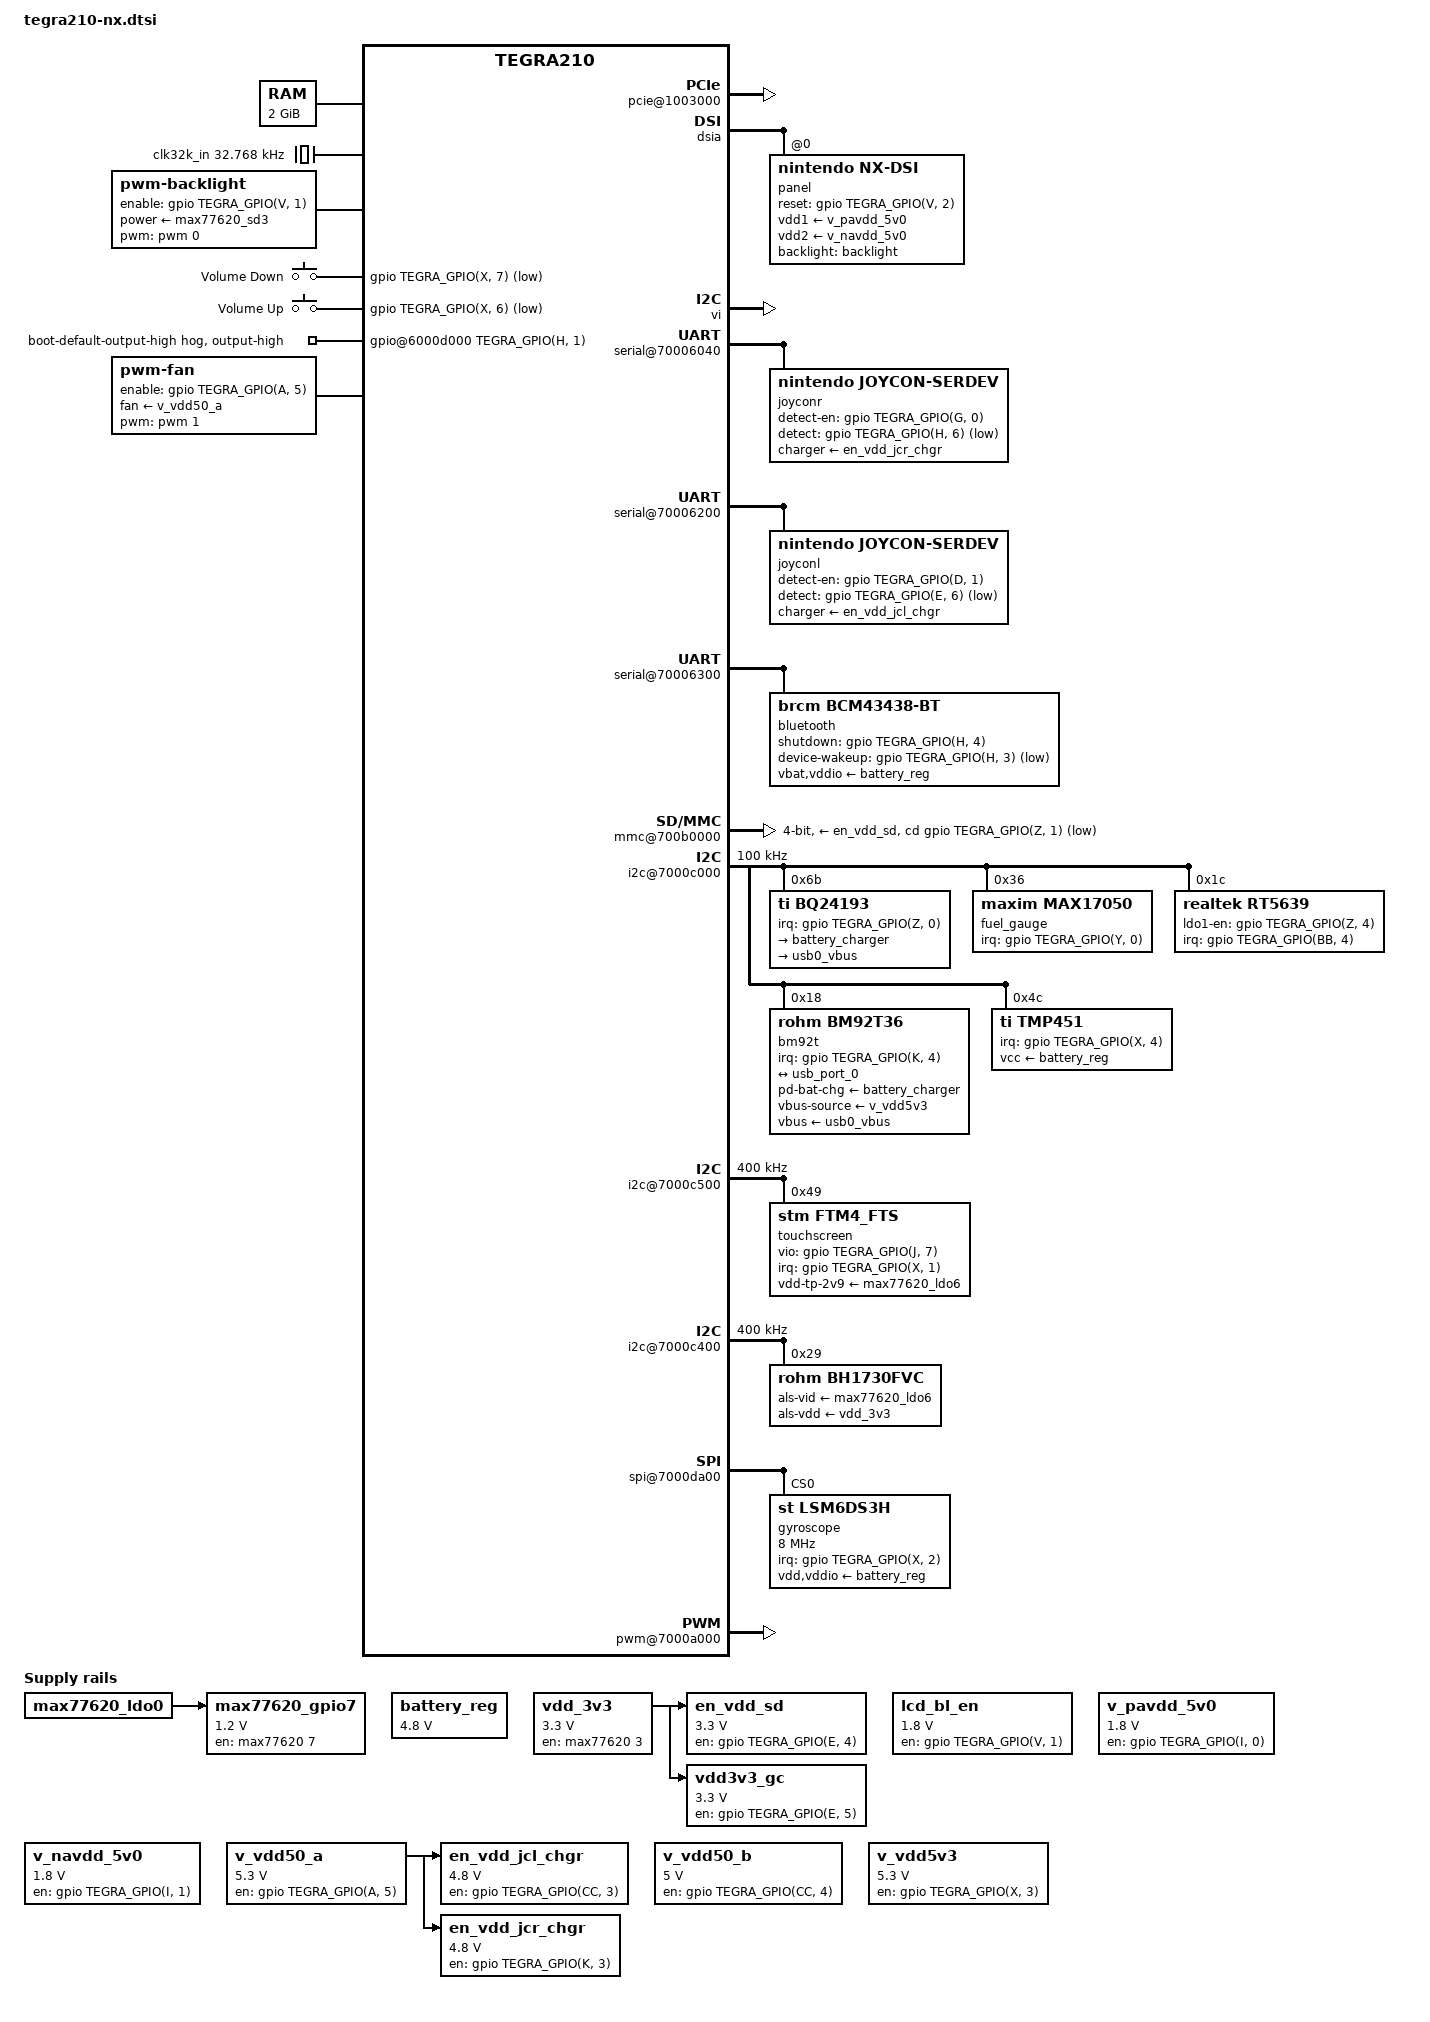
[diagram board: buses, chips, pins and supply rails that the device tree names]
// SPDX-License-Identifier: GPL-2.0
/dts-v1/;

#include <dt-bindings/mfd/max77620.h>
#include <dt-bindings/gpio/tegra-gpio.h>
#include <dt-bindings/thermal/thermal.h>
#include <dt-bindings/interrupt-controller/irq.h>
#include <dt-bindings/soc/tegra-pmc.h>
#include <dt-bindings/input/input.h>
#include <dt-bindings/pwm/pwm.h>
#include <dt-bindings/pinctrl/pinctrl-tegra.h>

#include "tegra210.dtsi"

/ {
	psci {
		compatible = "arm,psci-1.0";
		method = "smc";
	};

	cpus {
		cpu@0 {
			enable-method = "psci";
		};
		cpu@1 {
			enable-method = "psci";
		};
		cpu@2 {
			enable-method = "psci";
		};
		cpu@3 {
			enable-method = "psci";
		};
	};

	aliases {
		i2c1 = "/i2c@7000c000";
		i2c2 = "/i2c@7000c400";
		i2c3 = "/i2c@7000c500";
		i2c5 = "/i2c@7000d000";
		rtc0 = "/i2c@7000d000/max77620@3c";
		rtc1 = "/rtc@7000e000";
		serial0 = &uarta;
		serial1 = &uartb;
		serial2 = &uartc;
		serial3 = &uartd;
	};

	chosen {
		bootargs = "root=/dev/mmcblk0p2 rw rootwait fbcon=rotate:3 printk.synchronous=1 loglevel=4 console=fb0 console=ttyGS0 earlycon";
		stdout-path = "serial1:115200n8";
	};

	cpus {
		#address-cells = <1>;
		#size-cells = <0>;

		cpu@0 {
			vdd-cpu-supply = <&cpu_max_reg>;
		};

		idle-states {
			cpu-sleep {
				status = "okay";
			};
		};
	};

	gpu@57000000 {
		status = "okay";
		vdd-supply = <&gpu_max_reg>;
	};

	pcie@1003000 {
		status = "okay";

		avdd-pll-uerefe-supply = <&max77620_ldo1>;
		hvddio-pex-supply = <&max77620_sd3>;
		dvddio-pex-supply = <&max77620_ldo1>;
		dvdd-pex-pll-supply = <&max77620_ldo1>;
		hvdd-pex-pll-e-supply = <&max77620_sd3>;
		vddio-pex-ctl-supply = <&max77620_sd3>;

		pci@1,0 {
			phys =	<&{/padctl@7009f000/pads/pcie/lanes/pcie-3}>, /* Referred to plat config */
				<&{/padctl@7009f000/pads/pcie/lanes/pcie-2}>;
			phy-names = "pcie-0", "pcie-1";
			nvidia,num-lanes = <2>;
			status = "disabled";
		};

		pci@2,0 {
			phys = <&{/padctl@7009f000/pads/pcie/lanes/pcie-0}>;
			phy-names = "pcie-0";
			status = "okay";
		};
	};

	host1x@50000000 {
		dsia: dsi@54300000 {
			status = "okay";

			panel@0 {
				compatible = "nintendo,nx-dsi";
				nintendo,panel-id = <&pmc_scratch 0x31c>;
				reg = <0>;
				reset-gpios = <&gpio TEGRA_GPIO(V, 2) GPIO_ACTIVE_HIGH>;
				backlight = <&backlight>;
				vdd1-supply = <&v_pavdd_5v0>;
				vdd2-supply = <&v_navdd_5v0>;
			};
		};

		/* tegradc.0: DSI */
		dc@54200000 {
			status = "okay";
			pavdd_lcd-supply = <&v_pavdd_5v0>;
			navdd_lcd-supply = <&v_navdd_5v0>;
			dvdd_lcd-supply = <&max77620_sd3>;
			vdd_lcd_bl_en-supply = <&lcd_bl_en>;
			nvidia,outputs = <&dsia>;
		};

		/* tegradc.1: DP */
		dc@54240000 {
			status = "okay";
			avdd_hdmi-supply = <&max77620_ldo8>;    /* 1V05 */
			avdd_hdmi_pll-supply = <&max77620_sd3>; /* 1V8 */
			// vdd_hdmi_5v0-supply = <&vdd_hdmi>; /* 5V0 GPIO_PCC7 fixed reg */

			vdd-dp-pwr-supply = <&vdd_3v3>;
			avdd-dp-pll-supply = <&max77620_sd3>;
			vdd-dp-pad-supply = <&max77620_ldo8>;

			extcon-cables = <&bm92t 3>;
			extcon-cable-names = "typec1";

			nvidia,outputs = <&sor1>;
		};

		dpaux1: dpaux@54040000 {
			status = "okay";
			vdd-supply = <&v_pavdd_5v0>;
		};

		sor1: sor@54580000 {
			status = "okay";
			nvidia,dpaux = <&dpaux1>;

			avdd-io-hdmi-dp-supply = <&max77620_ldo8>;
			vdd-hdmi-dp-pll-supply = <&max77620_sd3>;

			nvidia,hpd-gpio = <&gpio TEGRA_GPIO(CC, 1) GPIO_ACTIVE_LOW>;
		};

		vi: i2c@546c0000 {
			status = "okay";
		};
	};

	clock@70110000 {
		status = "okay";
		nvidia,cf = <6>;
		nvidia,ci = <0>;
		nvidia,cg = <2>;
		nvidia,droop-ctrl = <0x00000f00>;
		nvidia,force-mode = <1>;
		nvidia,i2c-fs-rate = <400000>;
		nvidia,sample-rate = <12500>;
		vdd-cpu-supply = <&cpu_max_reg>;
	};

	memory {
		device_type = "memory";
		reg = <0x0 0x80000000 0x0 0x80000000>;
	};

	reserved-memory {
		/delete-node/ vpr-carveout;
		/delete-node/ iram-carveout;
	};

	r2p {
		compatible = "tegra-r2p";
		status = "okay";
	};

	/* debug port */
	serial@70006000 {
		status = "disabled";
	};

	/* joycon ports:
	 *	invert TXD and RTS via IRDA_CSR
	 *	start @ 1000000 baud, switch to 3000000
	 *	when they are >= 3000000 baud, use 2 stop bits
	 *	use flow control
	 *	Note: hsuart driver is required for flow control
	 */
	/* right joycon */
	serial@70006040 {
		status = "okay";
		compatible = "nvidia,tegra124-hsuart", "nvidia,tegra30-hsuart";
		nvidia,invert-txd;
		nvidia,invert-rts;
		reset-names = "serial";

		joyconr {
			status = "okay";
			compatible = "nintendo,joycon-serdev";
			charger-supply = <&en_vdd_jcr_chgr>;
			detect-en-gpios = <&gpio TEGRA_GPIO(G, 0) GPIO_ACTIVE_HIGH>;
			detect-gpios = <&gpio TEGRA_GPIO(H, 6) GPIO_ACTIVE_LOW>;
		};
	};

	/* left joycon */
	serial@70006200 {
		status = "okay";
		compatible = "nvidia,tegra124-hsuart", "nvidia,tegra30-hsuart";
		nvidia,invert-txd;
		nvidia,invert-rts;
		reset-names = "serial";

		joyconl {
			status = "okay";
			compatible = "nintendo,joycon-serdev";
			charger-supply = <&en_vdd_jcl_chgr>;
			detect-en-gpios = <&gpio TEGRA_GPIO(D, 1) GPIO_ACTIVE_HIGH>;
			detect-gpios = <&gpio TEGRA_GPIO(E, 6) GPIO_ACTIVE_LOW>;
		};
	};

	/* bluetooth */
	serial@70006300 {
		dma-names = "tx";
		status = "okay";
		compatible = "nvidia,tegra124-hsuart", "nvidia,tegra30-hsuart";
		reset-names = "serial";

		bluetooth {
			compatible = "brcm,bcm43438-bt";
			vbat-supply = <&battery_reg>;
			vddio-supply = <&battery_reg>;
			shutdown-gpios = <&gpio TEGRA_GPIO(H, 4) GPIO_ACTIVE_HIGH>;
			device-wakeup-gpios = <&gpio TEGRA_GPIO(H, 3) GPIO_ACTIVE_LOW>;
			max-speed = <3000000>; /* Max supported 4 MBaud */
			sco-routing = <1>; /* Over HCI */
		};
	};

	clk32k_in: clock-32k {
		compatible = "fixed-clock";
		clock-frequency = <32768>;
		#clock-cells = <0>;
	};

	backlight: backlight {
		compatible = "pwm-backlight";
		pwms = <&pwm 0 33898>;
		pwm-names = "backlight";
		brightness-levels = <
			0 1 2 3 4 5 6 7 8 9 10 11 12 13 14 15 16
			17 18 19 20 21 22 23 24 25 26 27 28 29 30
			31 32 33 34 35 36 37 38 39 40 41 42 43 44
			45 46 47 48 49 50 51 52 53 54 55 56 57 58
			59 60 61 62 63 64 65 66 67 68 69 70 71 72
			73 74 75 76 77 78 79 80 81 82 83 84 85 86
			87 88 89 90 91 92 93 94 95 96 97 98 99 100
		>;
		default-brightness-level = <50>;
		enable-gpios = <&gpio TEGRA_GPIO(V, 1) GPIO_ACTIVE_HIGH>;
		power-supply = <&max77620_sd3>;
	};

	battery_reg: vdd-ac-bat {
		compatible = "regulator-fixed";
		status = "okay";
		regulator-name = "vdd-ac-bat";
		regulator-min-microvolt = <4800000>;
		regulator-max-microvolt = <4800000>;
		regulator-always-on;
		regulator-boot-on;
	};

	vdd_3v3: vdd-3v3 {
		compatible = "regulator-fixed";
		regulator-name = "vdd-3v3";
		regulator-min-microvolt = <3300000>;
		regulator-max-microvolt = <3300000>;
		regulator-always-on;
		gpio = <&max77620 3 0>;
		enable-active-high;
		regulator-enable-ramp-delay = <160>;
		regulator-disable-ramp-delay = <10000>;
	};

	max77620_gpio7: avdd-dsi-csi-1v2 {
		compatible = "regulator-fixed";
		regulator-name = "max77620-gpio7";
		regulator-min-microvolt = <1200000>;
		regulator-max-microvolt = <1200000>;
		regulator-boot-on; /* Must be set for seamless display */
		gpio = <&max77620 7 0>;
		enable-active-high;
		regulator-enable-ramp-delay = <240>;
		regulator-disable-ramp-delay = <11340>;
		vin-supply = <&max77620_ldo0>;
	};

	lcd_bl_en: lcd-bl-en {
		compatible = "regulator-fixed";
		regulator-name = "lcd-bl-en";
		regulator-min-microvolt = <1800000>;
		regulator-max-microvolt = <1800000>;
		gpio = <&gpio TEGRA_GPIO(V, 1) 0>;
		regulator-boot-on; /* Must be set for seamless display */
		enable-active-high;
		regulator-always-on;
		regulator-state-mem {
			regulator-off-in-suspend;
		};
	};

	en_vdd_sd: en-vdd-sd {
		compatible = "regulator-fixed";
		regulator-name = "en-vdd-sd";
		regulator-min-microvolt = <3300000>;
		regulator-max-microvolt = <3300000>;
		gpio = <&gpio TEGRA_GPIO(E, 4) 0>;
		enable-active-high;
		regulator-enable-ramp-delay = <472>;
		regulator-disable-ramp-delay = <4880>;
		vin-supply = <&vdd_3v3>;
	};

	/* LCD Power Enable +5V. Rohm BD8316GWL. */
	v_pavdd_5v0: v-pavdd-5v0 {
		compatible = "regulator-fixed";
		regulator-name = "v_pavdd_5v0";
		regulator-min-microvolt = <1800000>;
		regulator-max-microvolt = <1800000>;
		gpio = <&gpio TEGRA_GPIO(I, 0) 0>;
		enable-active-high;
		regulator-boot-on; /* Must be set for seamless display */
		regulator-enable-ramp-delay = <232>;
	};

	/* LCD Power Enable -5V. Rohm BD8316GWL. */
	v_navdd_5v0: v-navdd-5v0 {
		compatible = "regulator-fixed";
		regulator-name = "v_navdd_5v0";
		regulator-min-microvolt = <1800000>;
		regulator-max-microvolt = <1800000>;
		gpio = <&gpio TEGRA_GPIO(I, 1) 0>;
		enable-active-high;
		regulator-boot-on; /* Must be set for seamless display */
		regulator-enable-ramp-delay = <232>;
	};

	/* Joycon/Fan power (battery). Maxim MAX8969EWL53+. */
	v_vdd50_a: v-vdd50-a {
		compatible = "regulator-fixed";
		regulator-name = "v_vdd50_a";
		regulator-min-microvolt = <5300000>;
		regulator-max-microvolt = <5300000>;
		gpio = <&gpio TEGRA_GPIO(A, 5) 0>;
		enable-active-high;
	};

	/* Joycon/Fan power (usb). DC0 on Odin. Maxim MAX8969EWL53+ on Modin. */
	v_vdd50_b: v-vdd50-b {
		compatible = "regulator-fixed";
		regulator-name = "v_vdd50_b";
		regulator-min-microvolt = <5000000>;
		regulator-max-microvolt = <5000000>;
		gpio = <&gpio TEGRA_GPIO(CC, 4) 0>;
		enable-active-high;
	};

	v_vdd5v3: v-vdd5v3 {
		compatible = "regulator-fixed";
		status = "okay"; /* Only enabled on Modin/Vali/Fric */
		regulator-name = "v_vdd5v3";
		regulator-min-microvolt = <5300000>;
		regulator-max-microvolt = <5300000>;
		gpio = <&gpio TEGRA_GPIO(X, 3) 0>;
		enable-active-high;
		regulator-enable-ramp-delay = <10000>;
	};

	vdd3v3_gc: vdd3v3-gc {
		compatible = "regulator-fixed";
		regulator-name = "vdd3v3_gc";
		regulator-min-microvolt = <3300000>;
		regulator-max-microvolt = <3300000>;
		gpio = <&gpio TEGRA_GPIO(E, 5) 0>;
		enable-active-high;
		regulator-enable-ramp-delay = <472>;
		regulator-disable-ramp-delay = <4880>;
		vin-supply = <&vdd_3v3>;
	};

	/* TI TCR2EE48 4.8V */
	en_vdd_jcl_chgr: left-joycon-charger {
		compatible = "regulator-fixed";
		status = "okay";
		regulator-name = "left-joycon-charger";
		regulator-min-microvolt = <4800000>;
		regulator-max-microvolt = <4800000>;
		gpio = <&gpio TEGRA_GPIO(CC, 3) GPIO_ACTIVE_HIGH>;
		enable-active-high;
		vin-supply = <&v_vdd50_a>;
		regulator-state-mem {
			regulator-off-in-suspend;
		};
	};

	/* TI TCR2EE48 4.8V */
	en_vdd_jcr_chgr: right-joycon-charger {
		compatible = "regulator-fixed";
		status = "okay";
		regulator-name = "right-joycon-charger";
		regulator-min-microvolt = <4800000>;
		regulator-max-microvolt = <4800000>;
		gpio = <&gpio TEGRA_GPIO(K, 3) GPIO_ACTIVE_HIGH>;
		enable-active-high;
		vin-supply = <&v_vdd50_a>;
		regulator-state-mem {
			regulator-off-in-suspend;
		};
	};

	/* SDMMC4 for EMMC */
	mmc@700b0600 {
		status = "disabled";
		bus-width = <8>;
		max-frequency = <200000000>;

		cap-mmc-highspeed;
		mmc-ddr-1_8v;
		mmc-hs200-1_8v;
		mmc-hs400-1_8v;
		non-removable;

		vqmmc-supply = <&max77620_sd3>;
		vmmc-supply = <&vdd_3v3>;
	};

	/* SDMMC3 Not Used */
	mmc@700b0400 {
		status = "disabled";

		vqmmc-supply = <&max77620_sd3>;
		vmmc-supply = <&vdd_3v3>;
	};

	/* SDMMC2 for Gamecard */
	mmc@700b0200 {
		status = "disabled";
		bus-width = <8>;
		max-frequency = <200000000>;

		mmc-ddr-1_8v;
		mmc-hs400-1_8v;
		mmc-hs200-1_8v;
		cap-mmc-highspeed;
		cap-sd-highspeed;
		non-removable;

		vqmmc-supply = <&max77620_sd3>;
		vmmc-supply = <&vdd_3v3>;
	};

	/* SDMMC1 for SD Card */
	mmc@700b0000 {
		status = "okay";
		bus-width = <4>;
		max-frequency = <200000000>;

		cap-sd-highspeed;
		sd-uhs-sdr12;
		sd-uhs-sdr50;
		sd-uhs-sdr104;

		cd-gpios = <&gpio TEGRA_GPIO(Z, 1) GPIO_ACTIVE_LOW>;

		vmmc-supply = <&en_vdd_sd>;
		vqmmc-supply = <&max77620_ldo2>;
	};

	hda@70030000 {
		status = "okay";
	};

    	/* i2c1 @ 100000hz
	 *	1c: realtek 5639
	 *	18: rohm usb-pd
	 *	4c: ti temperature sensor
	 *	6b: ti charger
	 *	36: maxim fuel gauge
	 */
	i2c@7000c000 {
		status = "okay";
		clock-frequency = <100000>;

		bq24193@6b {
			compatible = "ti,bq24193";
			reg = <0x6b>;

			interrupt-parent = <&gpio>;
			interrupts = <TEGRA_GPIO(Z, 0) IRQ_TYPE_LEVEL_LOW>;

			monitored-battery = <&fuel_gauge>;
			#extcon-cells = <1>;

			omit-battery-class;

			battery_charger: charger {
				regulator-name = "batt_regulator";
				regulator-max-microamp = <4500000>;
			};

			usb0_vbus: usb-otg-vbus {
				regulator-name = "vbus_regulator";
			};
		};

		fuel_gauge: fuel-gauge@36 {
			compatible = "maxim,max17050";
			status = "okay";
			reg = <0x36>;

			interrupt-parent = <&gpio>;
			/*
			 * MAX17050 ALRT is open-drain active-low; with IRQ_TYPE_NONE
			 * the GIC keeps its default edge config and "nobody cared"-
			 * disables the IRQ a few seconds in. That cascades into the
			 * cpuidle RCU stalls because each wake re-enters the spurious
			 * handler. Use LEVEL_LOW so we de-assert via STATUS-bit clear.
			 */
			interrupts = <TEGRA_GPIO(Y, 0) IRQ_TYPE_LEVEL_LOW>;

			/* Actual is 5000 but driver does not account for CGAIN */
			/* And does not take into account Rsense and CGAIN for capacity */
			maxim,rsns-microohm = <10000>;
			maxim,over-heat-temp = <600>;
			maxim,dead-volt = <3000>;
			maxim,over-volt = <4208>; /* Actual: 4258 mV */

			#thermal-sensor-cells = <0>;
		};

		rt5639: audio-codec@1c {
			status = "okay";
			compatible = "realtek,rt5639";
			reg = <0x1c>;
			interrupt-parent = <&gpio>;
			interrupts = <TEGRA_GPIO(BB, 4) IRQ_TYPE_EDGE_RISING>;
			realtek,ldo1-en-gpios = <&gpio TEGRA_GPIO(Z, 4) GPIO_ACTIVE_HIGH>;
			realtek,over-current-threshold-microamp = <600>;
			realtek,over-current-scale-factor = <2>;
			realtek,jack-detect-is-jd1;
		};

		/* PD Chip */
		bm92t: typec@18 {
			compatible = "rohm,bm92t36";
			reg = <0x18>;
			interrupt-parent = <&gpio>;
			interrupts = <TEGRA_GPIO(K, 4) IRQ_TYPE_LEVEL_LOW>;
			pd-bat-chg-supply = <&battery_charger>;
			vbus-source-supply = <&v_vdd5v3>;
			vbus-supply = <&usb0_vbus>;

			/* Absolute max is 2.4A, constrained by BQ24193 ILIM */
			rohm,pd-5v-input-current-limit-microamp  = <2000000>;
			rohm,pd-9v-input-current-limit-microamp  = <2000000>;
			rohm,pd-12v-input-current-limit-microamp = <1500000>;
			rohm,pd-15v-input-current-limit-microamp = <1200000>;

			port {
				usb_con_ep: endpoint {
					remote-endpoint = <&usb_port_0>;
				};
			};
		};

		tmp451: temperature-sensor@4c {
			compatible = "ti,tmp451";
			status = "okay";
			reg = <0x4c>;

			interrupt-parent = <&gpio>;
			interrupts = <TEGRA_GPIO(X, 4) IRQ_TYPE_EDGE_FALLING>;
			vcc-supply = <&battery_reg>;

			#thermal-sensor-cells = <1>;
		};
    	};

	/* i2c3 @ 400000hz
	49: stm touchscreen controller
	*/
	i2c@7000c500 {
		status = "okay";
		clock-frequency = <400000>;

		touchscreen@49 {
			compatible = "stm,ftm4_fts";
			status = "okay";
			reg = <0x49>;
			interrupt-parent = <&gpio>;
			interrupts = <TEGRA_GPIO(X, 1) IRQ_TYPE_LEVEL_LOW>;
			vdd-tp-2v9-supply = <&max77620_ldo6>;
			stm,vio-gpio = <&gpio TEGRA_GPIO(J, 7) GPIO_ACTIVE_HIGH>;
			stm,irq_type = <0x2000>; /* IRQF_ONESHOT */
			stm,regulator_avdd = "vdd-tp-2v9";
			stm,max_coords = <1280 720>;
			stm,max-real-coords = <1264 704>;
			stm,edge-offset = <15 15>;
			stm,delayed-open;
			stm,delayed-open-time = <0>;

			touchscreen-inverted-y;
		};
	};


	/* i2c2 @ 400000hz
	29: rohm ambient light sensor
	*/
	i2c@7000c400 {
		status = "okay";
		clock-frequency = <400000>;

		bh1730fvc: bh1730fvc@29 {
			status = "okay";
			compatible = "rohm,bh1730fvc";
			reg = <0x29>;
			als-vid-supply = <&max77620_ldo6>;
			als-vdd-supply = <&vdd_3v3>;
			rohm,integration-cycle = <38>;
			rohm,lux-multiplier = <3600>;

			rohm,opt-win-coeff = < 500 5002 7502
					       754 2250 2000
					      1029 1999 1667
					      1373  884  583
					      1879  309  165>;

			rohm,gain-coeff = < 2500     0
					    1600  7800
					      10 50000
					       0  1000>;
		};
	};

	spi@7000da00 {
		status = "okay";
		num-cs = <1>;

		#address-cells = <1>;
		#size-cells = <0>;

		// spi-cs-setup-delay-ns = <2>;
		// spi-cs-hold-delay-ns = <2>;
		// spi-cs-inactive-delay-ns = <2>;

		/*
		* Model WHOAMI:
		* LSM6DS3H 0x69, LSM6DSE 0x6A, LSM6DSO 0x6C, ICM40607 0x38.
		*/
		gyroscope: imu@0 {
			reg = <0>;
			status = "okay";
			compatible = "st,lsm6ds3h";

			#address-cells = <1>;
			#size-cells = <0>;

			spi-max-frequency = <8000000>;

			/* SPI Mode-3 */
			spi-cpha;
			spi-cpol;

			interrupt-parent = <&gpio>;
			interrupts = <TEGRA_GPIO(X, 2) IRQ_TYPE_LEVEL_HIGH>;

			vdd-supply = <&battery_reg>;
			vddio-supply = <&battery_reg>;

			st,drdy-int-pin = <2>;

			nvidia,rx-clk-tap-delay = <0x1f>;
			nvidia,tx-clk-tap-delay = <0x0>;


			mount-matrix =
				"1", "0",  "0", /* X:  x */
				"0", "1",  "0", /* Y:  y */
				"0", "0",  "1"; /* Z:  z */
		};
	};

	gpio-keys {
		compatible = "gpio-keys";

		key-volume-down {
			label = "Volume Down";
			gpios = <&gpio TEGRA_GPIO(X, 7) GPIO_ACTIVE_LOW>;
			linux,input-type = <EV_KEY>;
			linux,code = <KEY_VOLUMEDOWN>;
			debounce-interval = <10>;
		};

		key-volume-up {
			label = "Volume Up";
			gpios = <&gpio TEGRA_GPIO(X, 6) GPIO_ACTIVE_LOW>;
			linux,input-type = <EV_KEY>;
			linux,code = <KEY_VOLUMEUP>;
			debounce-interval = <10>;
		};
	};

	gpio@6000d000 {
		boot-default-output-high {
			gpio-hog;
			output-high;
			gpios = <TEGRA_GPIO(H, 1) GPIO_ACTIVE_HIGH>;
			line-name = "boot-default-output-high";
		};
	};

	pwm@7000a000 {
		status = "okay";
		#pwm-cells = <2>;
	};

  	fan: pwm-fan {
		compatible = "pwm-fan";
		cooling-min-state = <0>;
		cooling-max-state = <5>;
		#cooling-cells = <2>;
		pwms = <&pwm 1 33333>;
		fan-supply = <&v_vdd50_a>;
		enable-gpios = <&gpio TEGRA_GPIO(A, 5) GPIO_ACTIVE_HIGH>;
		/* cooling level (0, 1, 2, 3, 4, 5) - pwm inverted */
		cooling-levels = <255 204 153 102 51 0>;
	};

	sound {
		status = "okay";
		compatible = "nvidia,tegra-audio-rt5640-tx1",
					 "nvidia,tegra-audio-rt5640";
		nvidia,model = "Nintendo Switch";

		nvidia,audio-codec = <&rt5639>;
		nvidia,i2s-controller = <&tegra_i2s1>;
		// nvidia,hp-det-gpios = <&gpio 143 0>;

		clocks = <&tegra_car TEGRA210_CLK_PLL_A>,
			<&tegra_car TEGRA210_CLK_PLL_A_OUT0>,
			<&tegra_car TEGRA210_CLK_CLK_M>;
		clock-names = "pll_a", "plla_out0", "mclk";

		assigned-clocks = <&tegra_car TEGRA210_CLK_PLL_A>,
			<&tegra_car TEGRA210_CLK_PLL_A_OUT0>,
			<&tegra_car TEGRA210_CLK_D_AUDIO>,
			<&tegra_car TEGRA210_CLK_EXTERN1>;
		assigned-clock-rates = <368640000>, <36864000>,
			<36864000>, <12288000>;

		nvidia,audio-routing =
			"Headphones",		"HPOL",
			"Headphones",		"HPOR",
			"Speakers",			"SPORP",
			"Speakers",			"SPORN",
			"Speakers",			"SPOLP",
			"Speakers",			"SPOLN",
			"IN1P",				"Mic Jack",
			"IN1P",				"Mic Jack";
	};

	thermal-zones {
		cpu {
			polling-delay-passive = <250>;
			polling-delay = <500>;
			status = "okay";

			/* Based on Console profile SoC: 95% (100% at Handheld) */
			coefficients = <95 0 0 0 0 0 0 0 0 0 0 0 0 0 0 0 0 0 0 0>;
			thermal-sensors = <&tmp451 1>;

			trips {
				cpu_critical: cpu-critical {
					temperature = <102500>;
					hysteresis = <0>;
					type = "critical";
				};

				cpu_heavy: cpu-heavy {
					temperature = <98500>;
					hysteresis = <1000>;
					type = "hot";
				};

				cpu_throttle: cpu-throttle {
					temperature = <89000>;
					hysteresis = <2000>;
					type = "passive";
				};

				cpu_cap_trip1: cpu-cap-trip1 {
					temperature = <58000>;
					hysteresis = <2000>;
					type = "active";
				};

				cpu_floor_trip1: cpu-floor-trip1 {
					temperature = <53000>;
					hysteresis = <2000>;
					type = "active";
				};

				cpu_cap_trip0: cpu-cap-trip0 {
					temperature = <48000>;
					hysteresis = <2000>;
					type = "active";
				};

				cpu_floor_trip0: cpu-floor-trip0 {
					temperature = <43000>;
					hysteresis = <2000>;
					type = "active";
				};
			};

			cooling-maps {
				map0 {
					cooling-device = <&fan THERMAL_NO_LIMIT THERMAL_NO_LIMIT>;
					trip = <&cpu_critical>;
				};

				map1 {
					cooling-device = <&fan THERMAL_NO_LIMIT THERMAL_NO_LIMIT>;
					trip = <&cpu_heavy>;
				};

				map2 {
					cooling-device = <&fan THERMAL_NO_LIMIT THERMAL_NO_LIMIT>;
					trip = <&cpu_throttle>;
				};

				map3 {
					cooling-device = <&fan 1 1>;
					trip = <&cpu_cap_trip1>;
				};

				map4 {
					cooling-device = <&fan 2 2>;
					trip = <&cpu_floor_trip1>;
				};

				map5 {
					cooling-device = <&fan 3 3>;
					trip = <&cpu_cap_trip0>;
				};

				map6 {
					cooling-device = <&fan 4 4>;
					trip = <&cpu_floor_trip0>;
				};
			};
		};

		gpu {
			polling-delay-passive = <250>;
			polling-delay = <500>;
			status = "okay";
			thermal-sensors = <&tmp451 1>;

			trips {
				gpu_critical: gpu-critical {
					temperature = <103000>;
					hysteresis = <0>;
					type = "critical";
				};

				gpu_heavy: gpu-heavy {
					temperature = <100000>;
					hysteresis = <1000>;
					type = "hot";
				};

				gpu_throttle: gpu-throttle {
					temperature = <90500>;
					hysteresis = <0>;
					type = "passive";
				};
			};

			cooling-maps {
				map0 {
					trip = <&gpu_critical>;
					cooling-device = <&fan THERMAL_NO_LIMIT THERMAL_NO_LIMIT>;
				};
				map1 {
					trip = <&gpu_heavy>;
					cooling-device = <&fan THERMAL_NO_LIMIT THERMAL_NO_LIMIT>;
				};
				map2 {
					trip = <&gpu_throttle>;
					cooling-device = <&fan THERMAL_NO_LIMIT THERMAL_NO_LIMIT>;
				};
			};
		};

		pmic {
			status = "okay";
			polling-delay-passive = <250>;
			polling-delay = <500>;
			thermal-sensors = <&max77620>;

			trips {
				pmic_die_warn_temp_thresh: hot-die {
					temperature = <120000>;
					type = "hot";
					hysteresis = <0>;
				};

				pmic_die_cirt_temp_thresh: critical-die {
					temperature = <140000>;
					type = "critical";
					hysteresis = <0>;
				};
			};

			cooling-maps {
				map0 {
					trip = <&pmic_die_warn_temp_thresh>;
					cooling-device = <&throttle_heavy 1 1>;
					contribution = <100>;
				};
			};
		};

		cpu_vreg {
			status = "okay";
			polling-delay-passive = <250>;
			polling-delay = <500>;
			thermal-sensors = <&cpu_max_reg>;

			trips {
				cpu_vreg_die_warn_temp_thresh: hot-die {
					temperature = <120000>;
					type = "hot";
					hysteresis = <0>;
				};
			};

			cooling-maps {
				map0 {
					trip = <&cpu_vreg_die_warn_temp_thresh>;
					cooling-device = <&throttle_heavy 1 1>;
					contribution = <100>;
				};
			};
		};

		gpu_vreg {
			status = "okay";
			polling-delay-passive = <250>;
			polling-delay = <500>;
			thermal-sensors = <&gpu_max_reg>;

			trips {
				gpu_vreg_die_warn_temp_thresh: hot-die {
					temperature = <120000>;
					type = "hot";
					hysteresis = <0>;
				};
			};
		};
	};
	pmc_scratch: syscon@7000ec00 {
		compatible = "syscon";
		reg = <0x0 0x7000ec00 0x0 0x400>;
	};
};
